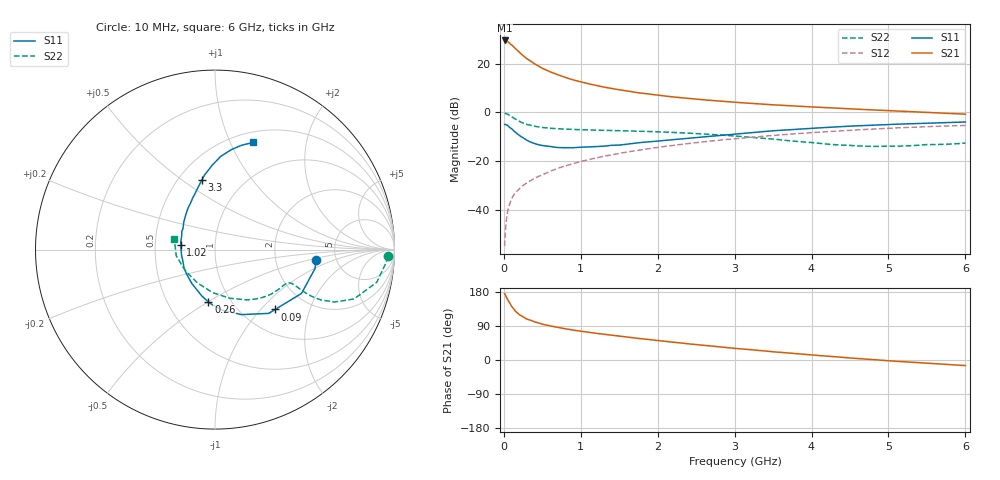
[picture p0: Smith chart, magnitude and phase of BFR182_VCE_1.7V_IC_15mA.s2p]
! Infineon Technologies  Discrete & RF Semiconductors
! BFR182
! VCE =  1.7 V,  IC =  15 mA
! Common Emitter S-Parameters:  Nov 2015
# GHz  S  MA  R  50
!  f  S11  S21  S12  S22
! GHz  MAG  ANG  MAG  ANG  MAG  ANG  MAG  ANG
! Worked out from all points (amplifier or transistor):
!   210 points, 10 MHz to 6 GHz, reference 50 ohm
!   highest |S21| = 29.5 dB at 10 MHz (marker M1)
!   |S21| within 3 dB of that: start of sweep to 139.1 MHz
!   unconditionally stable (mu >= 1): 559.5 MHz to 2.632 GHz
!   at 185 MHz: K = 0.65, MSG = 28.5 dB, |S12| = -31.8 dB
!   at 1.52 GHz: K = 1.06, MAG = 11.4 dB, |S12| = -16.7 dB
!   at 6 GHz: K = 0.90, MSG = 2.3 dB, |S12| = -5.4 dB
!   S11 on the Smith chart (normalised r, x): 10 MHz: 3.51, -0.58; 90 MHz: 1.41, -1.21; 260 MHz: 0.79, -0.50; 1.02 GHz: 0.68, +0.04; 3.3 GHz: 0.65, +0.59; 6 GHz: 0.61, +1.23
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0.01  0.5666 -5.7  29.82 175.5  0.0018 89.5  0.9645 -2.2
0.02  0.567 -10.8  29.41 171.0  0.0037 81.0  0.9532 -4.8
0.05  0.5402 -26.9  28.31 158.9  0.0095 78.2  0.9196 -11.4
0.09  0.4731 -44.8  25 145.7  0.0153 73.9  0.8406 -17.7
0.1  0.4647 -49.9  24.41 141.9  0.0168 73.3  0.8227 -19.5
0.15  0.391 -67.9  20.33 128.7  0.0226 68.7  0.7263 -23.7
0.2  0.3391 -83.3  17.13 119.8  0.027 68.2  0.6534 -25.4
0.24  0.3077 -92.7  15.02 114.5  0.0307 67.5  0.6112 -25.7
0.26  0.2939 -97.2  14.12 112.1  0.0325 67.7  0.5935 -25.8
0.3  0.268 -106.0  12.57 107.9  0.0359 68.9  0.5649 -25.6
0.4  0.2289 -124.3  9.86 100.6  0.0444 69.1  0.5181 -24.8
0.5  0.2088 -139.4  8.013 94.5  0.0524 70.4  0.489 -24.1
0.7  0.1899 -160.0  5.906 85.9  0.0708 71.3  0.461 -23.9
0.9  0.1881 -177.9  4.633 78.9  0.089 71.0  0.4461 -24.6
1.02  0.1933 172.4  4.141 75.5  0.0997 70.8  0.4394 -25.5
1.4  0.2109 151.5  3.08 65.5  0.1341 68.9  0.4245 -29.6
2.02  0.2595 127.8  2.229 51.0  0.1928 63.9  0.3984 -38.6
3.1  0.3686 104.0  1.571 29.2  0.297 53.0  0.3181 -61.0
3.3  0.3932 100.9  1.496 25.6  0.3164 50.7  0.2991 -66.6
4.1  0.4803 90.7  1.269 11.8  0.3926 41.2  0.2311 -97.4
5.1  0.5711 79.7  1.067 -3.2  0.4796 28.6  0.2025 -150.2
6  0.6341 70.3  0.918 -14.7  0.5384 15.9  0.2343 165.5
